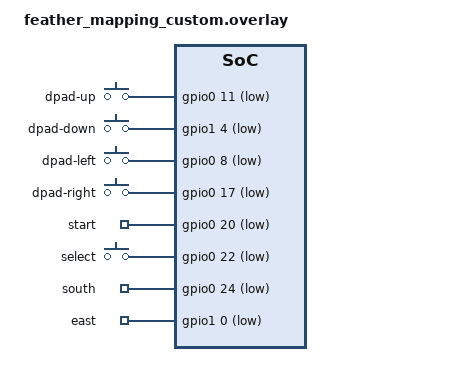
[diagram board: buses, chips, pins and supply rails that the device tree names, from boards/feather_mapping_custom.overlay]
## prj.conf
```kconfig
CONFIG_BT=y
#CONFIG_BT_MAX_CONN=1
#CONFIG_BT_MAX_PAIRED=1
CONFIG_BT_L2CAP_TX_BUF_COUNT=5
CONFIG_BT_PERIPHERAL=y
CONFIG_BT_DEVICE_NAME="Mini Stick"
CONFIG_BT_DEVICE_APPEARANCE=964

CONFIG_BT_BAS=y
CONFIG_BT_HIDS=y
#CONFIG_BT_HIDS_MAX_CLIENT_COUNT=1
CONFIG_BT_GATT_UUID16_POOL_SIZE=40
CONFIG_BT_GATT_CHRC_POOL_SIZE=20

CONFIG_BT_CONN_CTX=y

CONFIG_BT_DIS=y
CONFIG_BT_DIS_PNP=y
CONFIG_BT_DIS_MANUF_NAME=y
CONFIG_BT_DIS_MANUF_NAME_STR="Alessandrv"
CONFIG_BT_DIS_PNP_VID_SRC=2
CONFIG_BT_DIS_PNP_VID=0x18d1
CONFIG_BT_DIS_PNP_PID=0x9400
CONFIG_BT_DIS_PNP_VER=0x0100

CONFIG_MAIN_STACK_SIZE=1536
CONFIG_SYSTEM_WORKQUEUE_STACK_SIZE=2048

CONFIG_BT_HIDS_DEFAULT_PERM_RW_ENCRYPT=y

CONFIG_BT_SMP=y
CONFIG_BT_SETTINGS=y
CONFIG_FLASH=y
CONFIG_FLASH_PAGE_LAYOUT=y
CONFIG_FLASH_MAP=y
CONFIG_NVS=y
CONFIG_SETTINGS=y

CONFIG_BT_PRIVACY=y

CONFIG_LOG=y
CONFIG_LOG_MAX_LEVEL=3
#CONFIG_BT_HIDS_LOG_LEVEL_DBG=y
#CONFIG_BT_GATT_LOG_LEVEL_DBG=y

CONFIG_BT_FILTER_ACCEPT_LIST=y

CONFIG_KERNEL_BIN_NAME="mini-stick-bt"
CONFIG_GPIO=y
CONFIG_POWEROFF=y
CONFIG_LOG_FUNC_NAME_PREFIX_INF=y
```

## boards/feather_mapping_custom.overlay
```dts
// Custom pin mapping for the `slimbox-bt.uf2` build.
//
// This variant uses raw nRF GPIO pins (P0.xx / P1.xx) instead of the Feather header mapping.
// Edit the gpios = <&gpio0 N ...> / <&gpio1 N ...> lines to match your wiring.

/ {
    gamepad-buttons {
        compatible = "gpio-keys";
        // Assumed mapping (please confirm / adjust):
        // up=P0.11, down=P1.04, left=P0.08, right=P0.17, start=P0.20, select=P0.22, south=P0.24, east=P1.00
        dpad-up { gpios = <&gpio0 11 (GPIO_PULL_UP | GPIO_ACTIVE_LOW)>; };
        dpad-down { gpios = <&gpio1 4 (GPIO_PULL_UP | GPIO_ACTIVE_LOW)>; };
        dpad-left { gpios = <&gpio0 8 (GPIO_PULL_UP | GPIO_ACTIVE_LOW)>; };
        dpad-right { gpios = <&gpio0 17 (GPIO_PULL_UP | GPIO_ACTIVE_LOW)>; };
        start { gpios = <&gpio0 20 (GPIO_PULL_UP | GPIO_ACTIVE_LOW)>; };
        select { gpios = <&gpio0 22 (GPIO_PULL_UP | GPIO_ACTIVE_LOW)>; };
        south { gpios = <&gpio0 24 (GPIO_PULL_UP | GPIO_ACTIVE_LOW)>; };
        east { gpios = <&gpio1 0 (GPIO_PULL_UP | GPIO_ACTIVE_LOW)>; };
    };

    aliases {
        sys-button = "/gamepad-buttons/start";
    };
};
```

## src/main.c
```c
#include <assert.h>
#include <errno.h>
#include <soc.h>
#include <stddef.h>
#include <string.h>
#include <zephyr/drivers/gpio.h>
#include <zephyr/kernel.h>
#include <zephyr/logging/log.h>
#include <zephyr/settings/settings.h>
#include <zephyr/sys/byteorder.h>
#include <zephyr/sys/poweroff.h>
#include <zephyr/sys/printk.h>
#include <zephyr/types.h>

#ifdef CONFIG_BUILD_OUTPUT_UF2
#include <zephyr/drivers/retained_mem.h>
#include <zephyr/sys/reboot.h>
#endif

#include <zephyr/bluetooth/bluetooth.h>
#include <zephyr/bluetooth/conn.h>
#include <zephyr/bluetooth/gatt.h>
#include <zephyr/bluetooth/hci.h>
#include <zephyr/bluetooth/uuid.h>

#include <bluetooth/services/hids.h>
#include <zephyr/bluetooth/services/bas.h>
#include <zephyr/bluetooth/services/dis.h>

LOG_MODULE_REGISTER(gamepad, LOG_LEVEL_DBG);

#if DT_NODE_HAS_STATUS(DT_ALIAS(expanderreset), okay)
static const struct gpio_dt_spec expander_reset = GPIO_DT_SPEC_GET(DT_ALIAS(expanderreset), gpios);
#endif

static const struct gpio_dt_spec sys_button = GPIO_DT_SPEC_GET(DT_ALIAS(sys_button), gpios);

#define CHK(X) ({ int err = X; if (err != 0) { LOG_ERR("%s returned %d (%s:%d)", #X, err, __FILE__, __LINE__); } err == 0; })

#define REPORT_ID 3
#define REPORT_ID_IDX 0
#define REPORT_LEN 10

#define HIDS_QUEUE_SIZE 10

#define DISCONNECTED_SLEEP_TIMEOUT K_SECONDS(60)
#define CONNECTED_SLEEP_TIMEOUT K_SECONDS(600)

#define SYS_BUTTON_LONG_PRESS_MS 3000
#define SYS_BUTTON_VERY_LONG_PRESS_MS 10000

struct __attribute__((packed)) report_t {
    uint8_t dpad;
    uint8_t capture : 1;
    uint8_t assistant : 1;
    uint8_t l2 : 1;
    uint8_t r2 : 1;
    uint8_t stadia : 1;
    uint8_t menu : 1;
    uint8_t options : 1;
    uint8_t r3 : 1;
    uint8_t l3 : 1;
    uint8_t r1 : 1;
    uint8_t l1 : 1;
    uint8_t y : 1;
    uint8_t x : 1;
    uint8_t b : 1;
    uint8_t a : 1;
    uint8_t padding : 1;
    uint8_t lx;
    uint8_t ly;
    uint8_t rx;
    uint8_t ry;
    uint8_t l2_axis;
    uint8_t r2_axis;
    uint8_t extra_buttons;
};

static struct report_t report;
static struct report_t prev_report;

static const uint8_t dpad_lut[] = { 0x0F, 0x06, 0x02, 0x0F, 0x00, 0x07, 0x01, 0x00, 0x04, 0x05, 0x03, 0x04, 0x0F, 0x06, 0x02, 0x0F };

#define BUTTON(name) UTIL_CAT(button_, name)
#define BUTTON_FOR_ID(node_id) BUTTON(DT_NODE_FULL_NAME_TOKEN(node_id))
#define BUTTON_EXISTS(name) DT_NODE_EXISTS(DT_PATH(gamepad_buttons, name))

#define _BUTTON_GET_0(name) 0
#define _BUTTON_GET_1(name) gpio_pin_get_dt(&BUTTON(name))
#define BUTTON_GET(name) UTIL_CAT(_BUTTON_GET_, BUTTON_EXISTS(name))(name)

#define BUTTON_GPIO_DEF(node_id) static const struct gpio_dt_spec BUTTON_FOR_ID(node_id) = GPIO_DT_SPEC_GET(node_id, gpios);

DT_FOREACH_CHILD(DT_PATH(gamepad_buttons), BUTTON_GPIO_DEF)

#ifdef CONFIG_BUILD_OUTPUT_UF2
static const struct device* gpregret_dev = DEVICE_DT_GET(DT_NODELABEL(gpregret1));
#endif

BT_HIDS_DEF(hids_obj, REPORT_LEN);

K_MSGQ_DEFINE(hids_queue, REPORT_LEN, HIDS_QUEUE_SIZE, 4);

static const struct bt_data ad[] = {
    BT_DATA(BT_DATA_NAME_COMPLETE, CONFIG_BT_DEVICE_NAME, (sizeof(CONFIG_BT_DEVICE_NAME) - 1)),
    BT_DATA_BYTES(BT_DATA_GAP_APPEARANCE,
        (CONFIG_BT_DEVICE_APPEARANCE >> 0) & 0xff,
        (CONFIG_BT_DEVICE_APPEARANCE >> 8) & 0xff),
    BT_DATA_BYTES(BT_DATA_FLAGS, (BT_LE_AD_GENERAL | BT_LE_AD_NO_BREDR)),
    BT_DATA_BYTES(BT_DATA_UUID16_ALL, BT_UUID_16_ENCODE(BT_UUID_HIDS_VAL), BT_UUID_16_ENCODE(BT_UUID_BAS_VAL)),
};

static struct bt_conn* active_conn = NULL;
static bool try_directed;

static int prev_sys_button_state = 0;
static int64_t sys_button_pressed_at;

static void sleep_work_fn(struct k_work* work) {
#if DT_NODE_HAS_STATUS(DT_ALIAS(expanderreset), okay)
    // drive expander reset pin low
    gpio_pin_set_dt(&expander_reset, 1);
#endif
    LOG_INF("Going to sleep...");
    sys_poweroff();
}
static K_WORK_DELAYABLE_DEFINE(sleep_work, sleep_work_fn);

static void bond_find(const struct bt_bond_info* info, void* user_data) {
    bt_addr_le_copy(user_data, &info->addr);
}

static void advertising_work_fn(struct k_work* work) {
    LOG_INF("");

    struct bt_le_adv_param adv_param;

    char addr_buf[BT_ADDR_LE_STR_LEN];

    bt_addr_le_t addr;
    bt_addr_le_copy(&addr, BT_ADDR_LE_NONE);
    bt_foreach_bond(BT_ID_DEFAULT, bond_find, &addr);

    if (try_directed && !bt_addr_le_eq(&addr, BT_ADDR_LE_NONE)) {
        adv_param = *BT_LE_ADV_CONN_DIR(&addr);
        //        adv_param = *BT_LE_ADV_CONN_DIR_LOW_DUTY(&addr);
        adv_param.options |= BT_LE_ADV_OPT_DIR_ADDR_RPA;

        if (!CHK(bt_le_adv_start(&adv_param, NULL, 0, NULL, 0))) {
            return;
        }

        bt_addr_le_to_str(&addr, addr_buf, BT_ADDR_LE_STR_LEN);
        LOG_INF("Directed advertising to %s started.", addr_buf);
    } else {
        adv_param = *BT_LE_ADV_CONN_FAST_2;
        if (!bt_addr_le_eq(&addr, BT_ADDR_LE_NONE)) {
            bt_addr_le_to_str(&addr, addr_buf, BT_ADDR_LE_STR_LEN);
            LOG_INF("Enabling filter: %s", addr_buf);
            adv_param.options |= BT_LE_ADV_OPT_FILTER_CONN;
            adv_param.options |= BT_LE_ADV_OPT_FILTER_SCAN_REQ;
            bt_le_filter_accept_list_clear();
            bt_le_filter_accept_list_add(&addr);
        } else {
            LOG_INF("Not enabling filter.");
        }

        if (!CHK(bt_le_adv_start(&adv_param, ad, ARRAY_SIZE(ad), NULL, 0))) {
            return;
        }

        LOG_INF("Regular advertising started.");
    }
}
static K_WORK_DEFINE(advertising_work, advertising_work_fn);

static void advertising_start(void) {
    //    try_directed = true;
    try_directed = false;
    k_work_submit(&advertising_work);
    k_work_reschedule(&sleep_work, DISCONNECTED_SLEEP_TIMEOUT);
}

static void advertising_restart(void) {
    try_directed = false;
    k_work_submit(&advertising_work);
}

static void clear_bonds_work_fn(struct k_work* work) {
    LOG_INF("");
    bt_unpair(BT_ID_DEFAULT, BT_ADDR_LE_ANY);
    if (active_conn != NULL) {
        LOG_INF("Disconnecting...");
        CHK(bt_conn_disconnect(active_conn, BT_HCI_ERR_REMOTE_USER_TERM_CONN));
    } else {
        LOG_INF("(not connected)");
        CHK(bt_le_adv_stop());
        advertising_start();
    }
}
static K_WORK_DEFINE(clear_bonds_work, clear_bonds_work_fn);

static void connected(struct bt_conn* conn, uint8_t err) {
    char addr[BT_ADDR_LE_STR_LEN];

    bt_addr_le_to_str(bt_conn_get_dst(conn), addr, sizeof(addr));

    if (err) {
        if (err == BT_HCI_ERR_ADV_TIMEOUT) {
            LOG_INF("Directed advertising to %s timed out.", addr);
            advertising_restart();
        } else {
            LOG_ERR("Failed to connect to %s (%u).", addr, err);
        }
        return;
    }

    active_conn = conn;

    LOG_INF("%s", addr);

    CHK(bt_hids_connected(&hids_obj, conn));

    k_work_reschedule(&sleep_work, CONNECTED_SLEEP_TIMEOUT);
}

static void disconnected(struct bt_conn* conn, uint8_t reason) {
    char addr[BT_ADDR_LE_STR_LEN];

    bt_addr_le_to_str(bt_conn_get_dst(conn), addr, sizeof(addr));

    LOG_INF("%s (reason=%u)", addr, reason);

    if (conn == active_conn) {
        CHK(bt_hids_disconnected(&hids_obj, conn));
        active_conn = NULL;
    } else {
        LOG_ERR("Disconnected from a different connection than the active one?");
    }

    advertising_start();
}

static void security_changed(struct bt_conn* conn, bt_security_t level, enum bt_security_err err) {
    char addr[BT_ADDR_LE_STR_LEN];

    bt_addr_le_to_str(bt_conn_get_dst(conn), addr, sizeof(addr));

    if (!err) {
        LOG_INF("%s, level=%u", addr, level);
    } else {
        LOG_ERR("Security failed: %s, level=%u, err=%d\n", addr, level, err);
    }
}

BT_CONN_CB_DEFINE(conn_callbacks) = {
    .connected = connected,
    .disconnected = disconnected,
    .security_changed = security_changed,
};

static void auth_cancel(struct bt_conn* conn) {
    char addr[BT_ADDR_LE_STR_LEN];
    bt_addr_le_to_str(bt_conn_get_dst(conn), addr, sizeof(addr));
    LOG_WRN("%s", addr);
}

static void pairing_complete(struct bt_conn* conn, bool bonded) {
    char addr[BT_ADDR_LE_STR_LEN];
    bt_addr_le_to_str(bt_conn_get_dst(conn), addr, sizeof(addr));
    LOG_INF("%s, bonded=%d", addr, bonded);
}

static void pairing_failed(struct bt_conn* conn, enum bt_security_err reason) {
    char addr[BT_ADDR_LE_STR_LEN];
    bt_addr_le_to_str(bt_conn_get_dst(conn), addr, sizeof(addr));
    LOG_ERR("%s, reason=%d", addr, reason);
}

static struct bt_conn_auth_cb conn_auth_callbacks = {
    .cancel = auth_cancel,
};

static struct bt_conn_auth_info_cb conn_auth_info_callbacks = {
    .pairing_complete = pairing_complete,
    .pairing_failed = pairing_failed
};

static uint8_t const report_map[] = {
    0x05, 0x01,        // Usage Page (Generic Desktop Ctrls)
    0x09, 0x05,        // Usage (Game Pad)
    0xA1, 0x01,        // Collection (Application)
    0x85, 0x03,        //   Report ID (3)
    0x05, 0x01,        //   Usage Page (Generic Desktop Ctrls)
    0x75, 0x04,        //   Report Size (4)
    0x95, 0x01,        //   Report Count (1)
    0x25, 0x07,        //   Logical Maximum (7)
    0x46, 0x3B, 0x01,  //   Physical Maximum (315)
    0x65, 0x14,        //   Unit (System: English Rotation, Length: Centimeter)
    0x09, 0x39,        //   Usage (Hat switch)
    0x81, 0x42,        //   Input (Data,Var,Abs,No Wrap,Linear,Preferred State,Null State)
    0x45, 0x00,        //   Physical Maximum (0)
    0x65, 0x00,        //   Unit (None)
    0x75, 0x01,        //   Report Size (1)
    0x95, 0x04,        //   Report Count (4)
    0x81, 0x01,        //   Input (Const,Array,Abs,No Wrap,Linear,Preferred State,No Null Position)
    0x05, 0x09,        //   Usage Page (Button)
    0x15, 0x00,        //   Logical Minimum (0)
    0x25, 0x01,        //   Logical Maximum (1)
    0x75, 0x01,        //   Report Size (1)
    0x95, 0x0F,        //   Report Count (15)
    0x09, 0x12,        //   Usage (0x12)
    0x09, 0x11,        //   Usage (0x11)
    0x09, 0x14,        //   Usage (0x14)
    0x09, 0x13,        //   Usage (0x13)
    0x09, 0x0D,        //   Usage (0x0D)
    0x09, 0x0C,        //   Usage (0x0C)
    0x09, 0x0B,        //   Usage (0x0B)
    0x09, 0x0F,        //   Usage (0x0F)
    0x09, 0x0E,        //   Usage (0x0E)
    0x09, 0x08,        //   Usage (0x08)
    0x09, 0x07,        //   Usage (0x07)
    0x09, 0x05,        //   Usage (0x05)
    0x09, 0x04,        //   Usage (0x04)
    0x09, 0x02,        //   Usage (0x02)
    0x09, 0x01,        //   Usage (0x01)
    0x81, 0x02,        //   Input (Data,Var,Abs,No Wrap,Linear,Preferred State,No Null Position)
    0x75, 0x01,        //   Report Size (1)
    0x95, 0x01,        //   Report Count (1)
    0x81, 0x01,        //   Input (Const,Array,Abs,No Wrap,Linear,Preferred State,No Null Position)
    0x05, 0x01,        //   Usage Page (Generic Desktop Ctrls)
    0x15, 0x01,        //   Logical Minimum (1)
    0x26, 0xFF, 0x00,  //   Logical Maximum (255)
    0x09, 0x01,        //   Usage (Pointer)
    0xA1, 0x00,        //   Collection (Physical)
    0x09, 0x30,        //     Usage (X)
    0x09, 0x31,        //     Usage (Y)
    0x75, 0x08,        //     Report Size (8)
    0x95, 0x02,        //     Report Count (2)
    0x81, 0x02,        //     Input (Data,Var,Abs,No Wrap,Linear,Preferred State,No Null Position)
    0xC0,              //   End Collection
    0x09, 0x01,        //   Usage (Pointer)
    0xA1, 0x00,        //   Collection (Physical)
    0x09, 0x32,        //     Usage (Z)
    0x09, 0x35,        //     Usage (Rz)
    0x75, 0x08,        //     Report Size (8)
    0x95, 0x02,        //     Report Count (2)
    0x81, 0x02,        //     Input (Data,Var,Abs,No Wrap,Linear,Preferred State,No Null Position)
    0xC0,              //   End Collection
    0x05, 0x02,        //   Usage Page (Sim Ctrls)
    0x75, 0x08,        //   Report Size (8)
    0x95, 0x02,        //   Report Count (2)
    0x15, 0x00,        //   Logical Minimum (0)
    0x26, 0xFF, 0x00,  //   Logical Maximum (255)
    0x09, 0xC5,        //   Usage (Brake)
    0x09, 0xC4,        //   Usage (Accelerator)
    0x81, 0x02,        //   Input (Data,Var,Abs,No Wrap,Linear,Preferred State,No Null Position)
    0x05, 0x0C,        //   Usage Page (Consumer)
    0x15, 0x00,        //   Logical Minimum (0)
    0x25, 0x01,        //   Logical Maximum (1)
    0x09, 0xE9,        //   Usage (Volume Increment)
    0x09, 0xEA,        //   Usage (Volume Decrement)
    0x75, 0x01,        //   Report Size (1)
    0x95, 0x02,        //   Report Count (2)
    0x81, 0x02,        //   Input (Data,Var,Abs,No Wrap,Linear,Preferred State,No Null Position)
    0x09, 0xCD,        //   Usage (Play/Pause)
    0x95, 0x01,        //   Report Count (1)
    0x81, 0x02,        //   Input (Data,Var,Abs,No Wrap,Linear,Preferred State,No Null Position)
    0x95, 0x05,        //   Report Count (5)
    0x81, 0x01,        //   Input (Const,Array,Abs,No Wrap,Linear,Preferred State,No Null Position)

    /*
        0x85, 0x05,                    //   Report ID (5)
        0x06, 0x0F, 0x00,              //   Usage Page (PID Page)
        0x09, 0x97,                    //   Usage (0x97)
        0x75, 0x10,                    //   Report Size (16)
        0x95, 0x02,                    //   Report Count (2)
        0x27, 0xFF, 0xFF, 0x00, 0x00,  //   Logical Maximum (65535)
        0x91, 0x02,                    //   Output (Data,Var,Abs,No Wrap,Linear,Preferred State,No Null Position,Non-volatile)
    */

    0xC0,  // End Collection
};

static void hid_init(void) {
    struct bt_hids_init_param hids_init_param = { 0 };
    struct bt_hids_inp_rep* hids_inp_rep;

    hids_init_param.rep_map.data = report_map;
    hids_init_param.rep_map.size = sizeof(report_map);

    hids_init_param.info.bcd_hid = 0x0101;
    hids_init_param.info.b_country_code = 0x00;
    hids_init_param.info.flags = (BT_HIDS_REMOTE_WAKE |
                                  BT_HIDS_NORMALLY_CONNECTABLE);

    hids_inp_rep = &hids_init_param.inp_rep_group_init.reports[0];
    hids_inp_rep->size = sizeof(struct report_t);
    hids_inp_rep->id = REPORT_ID;
    hids_init_param.inp_rep_group_init.cnt++;

    CHK(bt_hids_init(&hids_obj, &hids_init_param));
}

static void report_sent_cb(struct bt_conn* conn, void* user_data) {
    LOG_DBG("");
}

static void hids_work_fn(struct k_work* work) {
    uint8_t report[REPORT_LEN];

    while (!k_msgq_get(&hids_queue, report, K_NO_WAIT)) {
        if (active_conn != NULL) {
            k_work_reschedule(&sleep_work, CONNECTED_SLEEP_TIMEOUT);
            LOG_DBG("Sending report...");
            CHK(bt_hids_inp_rep_send(&hids_obj, active_conn, REPORT_ID_IDX, report, REPORT_LEN, report_sent_cb));
        }
    }
}
static K_WORK_DEFINE(hids_work, hids_work_fn);

static void reset_to_bootloader() {
#ifdef CONFIG_BUILD_OUTPUT_UF2
    if (!device_is_ready(gpregret_dev)) {
        LOG_ERR("GPREGRET device not ready.");
        return;
    }

    // https://github.com/adafruit/Adafruit_nRF52_Bootloader/blob/master/src/main.c#L112
    uint8_t dfu_magic_uf2_reset = 0x57;

    // Save the magic value and reboot, the bootloader will see it and enter UF2 mode.
    if (CHK(retained_mem_write(gpregret_dev, 0, &dfu_magic_uf2_reset, 1))) {
        sys_reboot(SYS_REBOOT_WARM);
    }
#endif
}

static void report_init() {
    memset(&report, 0, sizeof(report));
    report.dpad = 8;
    report.lx = 0x80;
    report.ly = 0x80;
    report.rx = 0x80;
    report.ry = 0x80;
    memcpy(&prev_report, &report, sizeof(report));
}

#define GPIO_PIN_CONFIGURE(node_id) CHK(gpio_pin_configure_dt(&BUTTON_FOR_ID(node_id), GPIO_INPUT | GPIO_PULL_UP | GPIO_ACTIVE_LOW));
#define GPIO_PIN_INTERRUPT_CONFIGURE(node_id) CHK(gpio_pin_interrupt_configure_dt(&BUTTON_FOR_ID(node_id), GPIO_INT_EDGE_TO_ACTIVE));

static void configure_buttons(void) {
    DT_FOREACH_CHILD(DT_PATH(gamepad_buttons), GPIO_PIN_CONFIGURE)

    // Allow any button press to wake the device from System OFF.
    // (This is consistent with how sys_button was already configured: interrupts enabled, no callback.)
    DT_FOREACH_CHILD(DT_PATH(gamepad_buttons), GPIO_PIN_INTERRUPT_CONFIGURE)

    // sys_button is probably one of the gamepad buttons we just configured,
    // but configure it anyway in case it's not.
    CHK(gpio_pin_configure_dt(&sys_button, GPIO_INPUT | GPIO_PULL_UP | GPIO_ACTIVE_LOW));
    CHK(gpio_pin_interrupt_configure_dt(&sys_button, GPIO_INT_EDGE_BOTH));
}

static void handle_buttons() {
    int sys_button_state = gpio_pin_get_dt(&sys_button);
    int64_t now = k_uptime_get();
    if (!prev_sys_button_state && sys_button_state) {
        sys_button_pressed_at = now;
    }

    if (prev_sys_button_state && !sys_button_state) {
        int64_t duration = now - sys_button_pressed_at;
        if (duration >= SYS_BUTTON_VERY_LONG_PRESS_MS) {
            reset_to_bootloader();
        } else if (duration >= SYS_BUTTON_LONG_PRESS_MS) {
            k_work_submit(&clear_bonds_work);
        }
    }
    prev_sys_button_state = sys_button_state;

    // Check custom pairing combo: South + East + Dpad Right held for 10s
    static bool combo_was_active = false;
    static int64_t combo_start_time = 0;
    
    // We can read these even before assigning to report, checks current GPIO state
    bool combo_active = BUTTON_GET(south) && BUTTON_GET(east) && BUTTON_GET(dpad_right);
    
    if (combo_active) {
        if (!combo_was_active) {
            combo_start_time = now;
            combo_was_active = true;
        } else {
            if ((now - combo_start_time) >= 10000) {
                 // Trigger pairing mode (clear bonds)
                 // Prevent re-triggering until release by pushing start time into future
                 combo_start_time = now + 999999;
                 k_work_submit(&clear_bonds_work);
            }
        }
    } else {
        combo_was_active = false;
    }

    report.menu = BUTTON_GET(start);
    report.options = BUTTON_GET(select);
    report.stadia = BUTTON_GET(home);
    report.capture = BUTTON_GET(button14);
    report.l3 = BUTTON_GET(l3);
    report.r3 = BUTTON_GET(r3);
    report.x = BUTTON_GET(west);
    report.y = BUTTON_GET(north);
    report.r1 = BUTTON_GET(r1);
    report.l1 = BUTTON_GET(l1);
    report.a = BUTTON_GET(south);
    report.b = BUTTON_GET(east);
    report.r2 = BUTTON_GET(r2);
    report.r2_axis = report.r2 * 255;
    report.l2 = BUTTON_GET(l2);
    report.l2_axis = report.l2 * 255;

    int dpad = BUTTON_GET(dpad_left) | (BUTTON_GET(dpad_right) << 1) | (BUTTON_GET(dpad_up) << 2) | (BUTTON_GET(dpad_down) << 3);

    report.dpad = dpad_lut[dpad];

    if (memcmp(&prev_report, &report, sizeof(report))) {
        k_msgq_put(&hids_queue, &report, K_NO_WAIT);
        k_work_submit(&hids_work);
        memcpy(&prev_report, &report, sizeof(report));
    }
}

int main() {
    LOG_INF("Slimbox BT");

    if (!CHK(bt_conn_auth_cb_register(&conn_auth_callbacks))) {
        return 0;
    }

    if (!CHK(bt_conn_auth_info_cb_register(&conn_auth_info_callbacks))) {
        return 0;
    }

    report_init();
    hid_init();

    if (!CHK(bt_enable(NULL))) {
        return 0;
    }

    settings_load();
    advertising_start();
    configure_buttons();

    while (1) {
        k_sleep(K_MSEC(1));
        handle_buttons();
    }
}
```
